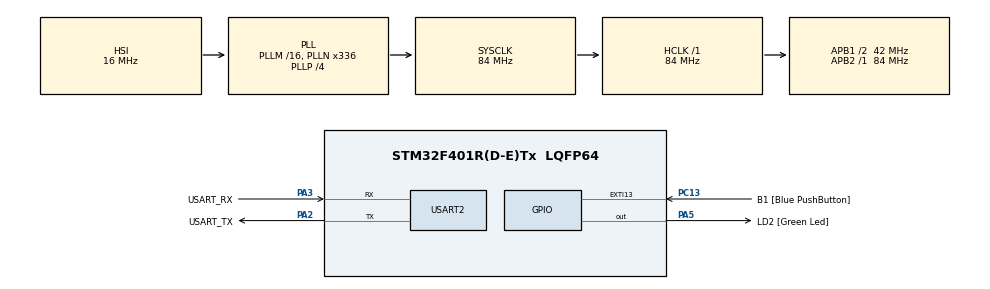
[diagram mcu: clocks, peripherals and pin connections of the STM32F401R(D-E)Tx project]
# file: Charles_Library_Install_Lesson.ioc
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Mcu.Family=STM32F4
Mcu.Name=STM32F401R(D-E)Tx
Mcu.Package=LQFP64
NVIC.PriorityGroup=NVIC_PRIORITYGROUP_0
PA13.GPIO_Label=TMS
PA13.Mode=Serial_Wire
PA13.Signal=SYS_JTMS-SWDIO
PA14.GPIO_Label=TCK
PA14.Mode=Serial_Wire
PA14.Signal=SYS_JTCK-SWCLK
PA2.GPIO_Label=USART_TX
PA2.GPIO_Mode=GPIO_MODE_AF_PP
PA2.GPIO_PuPd=GPIO_NOPULL
PA2.GPIO_Speed=GPIO_SPEED_FREQ_LOW
PA2.Mode=Asynchronous
PA2.Signal=USART2_TX
PA3.GPIO_Label=USART_RX
PA3.GPIO_Mode=GPIO_MODE_AF_PP
PA3.GPIO_PuPd=GPIO_NOPULL
PA3.GPIO_Speed=GPIO_SPEED_FREQ_LOW
PA3.Mode=Asynchronous
PA3.Signal=USART2_RX
PA5.GPIO_Label=LD2 [Green Led]
PA5.GPIO_Mode=GPIO_MODE_OUTPUT_PP
PA5.GPIO_PuPd=GPIO_NOPULL
PA5.GPIO_Speed=GPIO_SPEED_FREQ_LOW
PA5.Signal=GPIO_Output
PB3.GPIO_Label=SWO
PB3.Signal=SYS_JTDO-SWO
PC13-ANTI_TAMP.GPIO_Label=B1 [Blue PushButton]
PC13-ANTI_TAMP.GPIO_ModeDefaultEXTI=GPIO_MODE_IT_FALLING
PC13-ANTI_TAMP.GPIO_PuPd=GPIO_NOPULL
PC13-ANTI_TAMP.Signal=GPXTI13
PC14-OSC32_IN.Mode=LSE-External-Oscillator
PC14-OSC32_IN.Signal=RCC_OSC32_IN
PC15-OSC32_OUT.Mode=LSE-External-Oscillator
PC15-OSC32_OUT.Signal=RCC_OSC32_OUT
PH0\ -\ OSC_IN.Mode=HSE-External-Clock-Source
PH0\ -\ OSC_IN.Signal=RCC_OSC_IN
PH1\ -\ OSC_OUT.Mode=HSE-External-Clock-Source
PH1\ -\ OSC_OUT.Signal=RCC_OSC_OUT
ProjectManager.HeapSize=0x200
ProjectManager.StackSize=0x400
ProjectManager.TargetToolchain=STM32CubeIDE
RCC.48MHZClocksFreq_Value=48000000
RCC.AHBFreq_Value=84000000
RCC.APB1CLKDivider=RCC_HCLK_DIV2
RCC.APB1Freq_Value=42000000
RCC.APB1TimFreq_Value=84000000
RCC.APB2Freq_Value=84000000
RCC.APB2TimFreq_Value=84000000
RCC.CortexFreq_Value=84000000
RCC.HCLKFreq_Value=84000000
RCC.HSE_VALUE=8000000
RCC.HSI_VALUE=16000000
RCC.PLLN=336
RCC.PLLP=RCC_PLLP_DIV4
RCC.PLLQ=7
RCC.SYSCLKFreq_VALUE=84000000
RCC.SYSCLKSource=RCC_SYSCLKSOURCE_PLLCLK
RCC.VCOOutputFreq_Value=336000000
USART2.VirtualMode=VM_ASYNC
board=NUCLEO-F401RE

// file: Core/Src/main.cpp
/* USER CODE BEGIN Header */
/**
  ******************************************************************************
  * @file           : main.c
  * @brief          : Main program body
  ******************************************************************************
  * @attention
  *
  * <h2><center>&copy; Copyright (c) 2020 STMicroelectronics.
  * All rights reserved.</center></h2>
  *
  * This software component is licensed by ST under BSD 3-Clause license,
  * the "License"; You may not use this file except in compliance with the
  * License. You may obtain a copy of the License at:
  *                        opensource.org/licenses/BSD-3-Clause
  *
  ******************************************************************************
  */
/* USER CODE END Header */
#include "main.h"

/* USER CODE BEGIN Includes */

#include "arduinoFFT.h"
#include <stdio.h>
#define SCL_INDEX 0x00
#define SCL_TIME 0x01
#define SCL_FREQUENCY 0x02
#define SCL_PLOT 0x03

#define Comment 2
/* USER CODE END Includes */

UART_HandleTypeDef huart2;

/* USER CODE BEGIN PV */
char uart_buf[50];
int uart_buf_len;
uint16_t timer_val;
/* USER CODE END PV */

void SystemClock_Config(void);
static void MX_GPIO_Init(void);
static void MX_USART2_UART_Init(void);
/* USER CODE BEGIN PFP */
void PrintVector(double * , uint16_t , uint8_t );
/* USER CODE END PFP */

/* USER CODE BEGIN 0 */
arduinoFFT FFT = arduinoFFT(); /* Create FFT object */

const uint16_t samples = 128; //This value MUST ALWAYS be a power of 2
const double signalFrequency = 1000;
const double samplingFrequency = 5000;
const uint8_t amplitude = 100;

double vReal[samples];
double vImag[samples];

/* USER CODE END 0 */

int main(void)
{

  /* MCU Configuration--------------------------------------------------------*/

  /* Reset of all peripherals, Initializes the Flash interface and the Systick. */
  HAL_Init();

  /* Configure the system clock */
  SystemClock_Config();

  /* Initialize all configured peripherals */
  MX_GPIO_Init();
  MX_USART2_UART_Init();

  /* Infinite loop */
  while (1)
  {

    /* USER CODE BEGIN 3 */
	//  uart_buf_len = sprintf(uart_buf , "Timer test\r\n");
	//  HAL_UART_Transmit(&huart2 , (uint8_t * )uart_buf, uart_buf_len, 100);

	  double cycles = (((samples-1) * signalFrequency) / samplingFrequency); //Number of signal cycles that the sampling will read
	  for (uint16_t i = 0; i < samples; i++)
	  {
	    vReal[i] = int8_t((amplitude * (sin((i * (twoPi * cycles)) / samples))) / 2.0);
	    vImag[i] = 0.0; //Imaginary part must be zeroed in case of looping to avoid wrong calculations and overflows

	  }

	  FFT.Windowing(vReal, samples, FFT_WIN_TYP_HAMMING, FFT_FORWARD);
	  FFT.Compute(vReal, vImag, samples, FFT_FORWARD);
	  FFT.ComplexToMagnitude(vReal, vImag, samples);
	  double x = FFT.MajorPeak(vReal, samples, samplingFrequency);

	  uart_buf_len = sprintf(uart_buf,  "%f \r\n", x);
	  HAL_UART_Transmit(&huart2, (uint8_t *)uart_buf, uart_buf_len, 100);

  }
  /* USER CODE END 3 */
}

void SystemClock_Config(void)
{
  RCC_OscInitTypeDef RCC_OscInitStruct = {0};
  RCC_ClkInitTypeDef RCC_ClkInitStruct = {0};

  /** Configure the main internal regulator output voltage
  */
  __HAL_RCC_PWR_CLK_ENABLE();
  __HAL_PWR_VOLTAGESCALING_CONFIG(PWR_REGULATOR_VOLTAGE_SCALE2);
  /** Initializes the RCC Oscillators according to the specified parameters
  * in the RCC_OscInitTypeDef structure.
  */
  RCC_OscInitStruct.OscillatorType = RCC_OSCILLATORTYPE_HSI;
  RCC_OscInitStruct.HSIState = RCC_HSI_ON;
  RCC_OscInitStruct.HSICalibrationValue = RCC_HSICALIBRATION_DEFAULT;
  RCC_OscInitStruct.PLL.PLLState = RCC_PLL_ON;
  RCC_OscInitStruct.PLL.PLLSource = RCC_PLLSOURCE_HSI;
  RCC_OscInitStruct.PLL.PLLM = 16;
  RCC_OscInitStruct.PLL.PLLN = 336;
  RCC_OscInitStruct.PLL.PLLP = RCC_PLLP_DIV4;
  RCC_OscInitStruct.PLL.PLLQ = 7;
  if (HAL_RCC_OscConfig(&RCC_OscInitStruct) != HAL_OK)
  {
    Error_Handler();
  }
  /** Initializes the CPU, AHB and APB buses clocks
  */
  RCC_ClkInitStruct.ClockType = RCC_CLOCKTYPE_HCLK|RCC_CLOCKTYPE_SYSCLK
                              |RCC_CLOCKTYPE_PCLK1|RCC_CLOCKTYPE_PCLK2;
  RCC_ClkInitStruct.SYSCLKSource = RCC_SYSCLKSOURCE_PLLCLK;
  RCC_ClkInitStruct.AHBCLKDivider = RCC_SYSCLK_DIV1;
  RCC_ClkInitStruct.APB1CLKDivider = RCC_HCLK_DIV2;
  RCC_ClkInitStruct.APB2CLKDivider = RCC_HCLK_DIV1;

  if (HAL_RCC_ClockConfig(&RCC_ClkInitStruct, FLASH_LATENCY_2) != HAL_OK)
  {
    Error_Handler();
  }
}

static void MX_USART2_UART_Init(void)
{

  huart2.Instance = USART2;
  huart2.Init.BaudRate = 115200;
  huart2.Init.WordLength = UART_WORDLENGTH_8B;
  huart2.Init.StopBits = UART_STOPBITS_1;
  huart2.Init.Parity = UART_PARITY_NONE;
  huart2.Init.Mode = UART_MODE_TX_RX;
  huart2.Init.HwFlowCtl = UART_HWCONTROL_NONE;
  huart2.Init.OverSampling = UART_OVERSAMPLING_16;
  if (HAL_UART_Init(&huart2) != HAL_OK)
  {
    Error_Handler();
  }

}

static void MX_GPIO_Init(void)
{
  GPIO_InitTypeDef GPIO_InitStruct = {0};

  /* GPIO Ports Clock Enable */
  __HAL_RCC_GPIOC_CLK_ENABLE();
  __HAL_RCC_GPIOH_CLK_ENABLE();
  __HAL_RCC_GPIOA_CLK_ENABLE();
  __HAL_RCC_GPIOB_CLK_ENABLE();

  /*Configure GPIO pin Output Level */
  HAL_GPIO_WritePin(LD2_GPIO_Port, LD2_Pin, GPIO_PIN_RESET);

  /*Configure GPIO pin : B1_Pin */
  GPIO_InitStruct.Pin = B1_Pin;
  GPIO_InitStruct.Mode = GPIO_MODE_IT_FALLING;
  GPIO_InitStruct.Pull = GPIO_NOPULL;
  HAL_GPIO_Init(B1_GPIO_Port, &GPIO_InitStruct);

  /*Configure GPIO pin : LD2_Pin */
  GPIO_InitStruct.Pin = LD2_Pin;
  GPIO_InitStruct.Mode = GPIO_MODE_OUTPUT_PP;
  GPIO_InitStruct.Pull = GPIO_NOPULL;
  GPIO_InitStruct.Speed = GPIO_SPEED_FREQ_LOW;
  HAL_GPIO_Init(LD2_GPIO_Port, &GPIO_InitStruct);

}

/* USER CODE BEGIN 4 */

void PrintVector(double *vData, uint16_t bufferSize, uint8_t scaleType)
{
  for (uint16_t i = 0; i < bufferSize; i++)
  {
    double abscissa;
    /* Print abscissa value */
    switch (scaleType)
    {
      case SCL_INDEX:
        abscissa = (i * 1.0);
	break;
      case SCL_TIME:
        abscissa = ((i * 1.0) / samplingFrequency);
	break;
      case SCL_FREQUENCY:
        abscissa = ((i * 1.0 * samplingFrequency) / samples);
	break;
    }

  //  Serial.print(abscissa, 6);
	uart_buf_len = sprintf(uart_buf,  "%f ", abscissa);
	HAL_UART_Transmit(&huart2, (uint8_t *)uart_buf, uart_buf_len, 100);

    if(scaleType==SCL_FREQUENCY)

    uart_buf_len = sprintf(uart_buf,  "%s "," Hz " );
    HAL_UART_Transmit(&huart2, (uint8_t *)uart_buf, uart_buf_len, 100);

    uart_buf_len = sprintf(uart_buf,  "%f \r\n", vData[i]);
    HAL_UART_Transmit(&huart2, (uint8_t *)uart_buf, uart_buf_len, 100);

//      Serial.print("Hz");
  //  Serial.print(" ");
  //  Serial.println(vData[i], 4);
  }
 // Serial.println();

}

/* USER CODE END 4 */

void Error_Handler(void)
{
}

/************************ (C) COPYRIGHT STMicroelectronics *****END OF FILE****/
